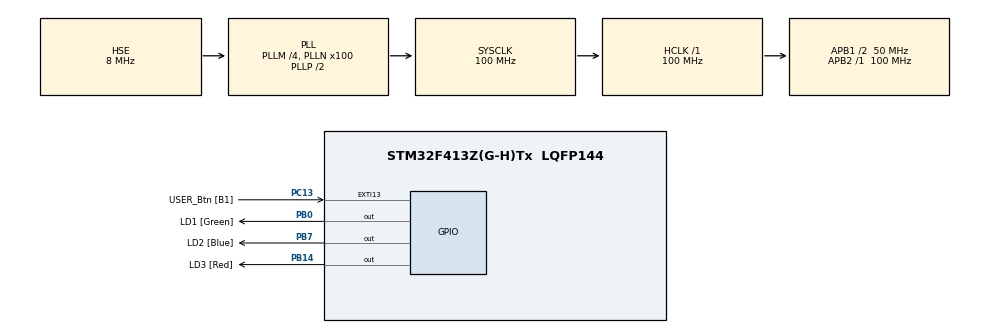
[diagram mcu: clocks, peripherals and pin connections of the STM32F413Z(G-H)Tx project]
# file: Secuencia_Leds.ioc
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Mcu.Family=STM32F4
Mcu.Name=STM32F413Z(G-H)Tx
Mcu.Package=LQFP144
NVIC.PriorityGroup=NVIC_PRIORITYGROUP_4
PA13.GPIO_Label=TMS
PA13.Mode=Serial_Wire
PA13.Signal=SYS_JTMS-SWDIO
PA14.GPIO_Label=TCK
PA14.Mode=Serial_Wire
PA14.Signal=SYS_JTCK-SWCLK
PB0.GPIO_Label=LD1 [Green]
PB0.Signal=GPIO_Output
PB14.GPIO_Label=LD3 [Red]
PB14.Signal=GPIO_Output
PB7.GPIO_Label=LD2 [Blue]
PB7.Signal=GPIO_Output
PC13.GPIO_Label=USER_Btn [B1]
PC13.Signal=GPXTI13
PH0\ -\ OSC_IN.GPIO_Label=MCO
PH0\ -\ OSC_IN.Mode=HSE-External-Clock-Source
PH0\ -\ OSC_IN.Signal=RCC_OSC_IN
PH1\ -\ OSC_OUT.Mode=HSE-External-Clock-Source
PH1\ -\ OSC_OUT.Signal=RCC_OSC_OUT
ProjectManager.HeapSize=0x200
ProjectManager.StackSize=0x400
ProjectManager.TargetToolchain=STM32CubeIDE
RCC.48MHZClocksFreq_Value=24000000
RCC.AHBFreq_Value=100000000
RCC.APB1CLKDivider=RCC_HCLK_DIV2
RCC.APB1Freq_Value=50000000
RCC.APB1TimFreq_Value=100000000
RCC.APB2Freq_Value=100000000
RCC.APB2TimFreq_Value=100000000
RCC.CortexFreq_Value=100000000
RCC.HCLKFreq_Value=100000000
RCC.HSE_VALUE=8000000
RCC.HSI_VALUE=16000000
RCC.PLLM=4
RCC.PLLMUL=RCC_PLL_MUL9
RCC.PLLN=100
RCC.PLLQ=8
RCC.PLLSourceVirtual=RCC_PLLSOURCE_HSE
RCC.PRESCALERUSB=RCC_USBCLKSOURCE_PLL_DIV1_5
RCC.SYSCLKFreq_VALUE=100000000
RCC.SYSCLKSource=RCC_SYSCLKSOURCE_PLLCLK
RCC.SYSCLKSourceVirtual=RCC_SYSCLKSOURCE_PLLCLK
RCC.USBFreq_Value=25000000
RCC.VCOOutputFreq_Value=200000000
board=NUCLEO-F413ZH

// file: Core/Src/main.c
/* USER CODE BEGIN Header */
/**
  ******************************************************************************
  * @file           : main.c
  * @brief          : Main program body - App 1.4 con MEF Debounce
  ******************************************************************************
  */
/* USER CODE END Header */

#include "main.h"
#include "API_GPIO.h"
#include "API_delay.h"
#include "API_debounce.h"

/* USER CODE BEGIN PD */
#define LED1 LD1_Pin  // LED Verde
#define LED2 LD2_Pin  // LED Azul
#define LED3 LD3_Pin  // LED Rojo

// Tiempos de alternancia predefinidos (ms)
#define TIEMPO_1   100
#define TIEMPO_2   250
#define TIEMPO_3   500
#define TIEMPO_4  1000
/* USER CODE END PD */

void SystemClock_Config(void);

int main(void)
{
  HAL_Init();

  SystemClock_Config();

  MX_GPIO_Init();

  /* USER CODE BEGIN 2 */
  uint16_t leds[3] = {LED1, LED2, LED3};
  uint8_t secuencia = 1;

  // 1. Sincronización: asegurar que los tres LEDs comiencen apagados
  for (uint8_t i = 0; i < 3; i++)
  {
      writeLedOff_GPIO(leds[i]);
  }

  // 2. Inicializar retardo no bloqueante con Tiempo 1 (100 ms)
  delay_t delay_leds;
  delayInit(&delay_leds, TIEMPO_1);

  // 3. Inicializar la MEF de antirrebote
  debounceFSM_init();
  /* USER CODE END 2 */

  /* Infinite loop */
  /* USER CODE BEGIN WHILE */
  while (1)
  {
      /* 1. Actualización continua de la MEF de antirrebote */
      debounceFSM_update(readButton_GPIO());

      /* 2. Detección de nueva pulsación (evento consumido) */
      if (readKey())
      {
          secuencia++;
          if (secuencia > 4)
          {
              secuencia = 1;
          }

          switch (secuencia)
          {
              case 1:
                  delayWrite(&delay_leds, TIEMPO_1);
                  break;
              case 2:
                  delayWrite(&delay_leds, TIEMPO_2);
                  break;
              case 3:
                  delayWrite(&delay_leds, TIEMPO_3);
                  break;
              case 4:
                  delayWrite(&delay_leds, TIEMPO_4);
                  break;
          }
      }

      /* 3. Conmutación 100% simultánea de los 3 LEDs */
      if (delayRead(&delay_leds))
      {
          for (uint8_t i = 0; i < 3; i++)
          {
              toggleLed_GPIO(leds[i]);
          }
      }
    /* USER CODE END WHILE */

  }
}

void SystemClock_Config(void)
{
  RCC_OscInitTypeDef RCC_OscInitStruct = {0};
  RCC_ClkInitTypeDef RCC_ClkInitStruct = {0};

  __HAL_RCC_PWR_CLK_ENABLE();
  __HAL_PWR_VOLTAGESCALING_CONFIG(PWR_REGULATOR_VOLTAGE_SCALE1);

  RCC_OscInitStruct.OscillatorType = RCC_OSCILLATORTYPE_HSE;
  RCC_OscInitStruct.HSEState = RCC_HSE_BYPASS;
  RCC_OscInitStruct.PLL.PLLState = RCC_PLL_ON;
  RCC_OscInitStruct.PLL.PLLSource = RCC_PLLSOURCE_HSE;
  RCC_OscInitStruct.PLL.PLLM = 4;
  RCC_OscInitStruct.PLL.PLLN = 100;
  RCC_OscInitStruct.PLL.PLLP = RCC_PLLP_DIV2;
  RCC_OscInitStruct.PLL.PLLQ = 8;
  RCC_OscInitStruct.PLL.PLLR = 2;
  if (HAL_RCC_OscConfig(&RCC_OscInitStruct) != HAL_OK)
  {
    Error_Handler();
  }

  RCC_ClkInitStruct.ClockType = RCC_CLOCKTYPE_HCLK|RCC_CLOCKTYPE_SYSCLK
                              |RCC_CLOCKTYPE_PCLK1|RCC_CLOCKTYPE_PCLK2;
  RCC_ClkInitStruct.SYSCLKSource = RCC_SYSCLKSOURCE_PLLCLK;
  RCC_ClkInitStruct.AHBCLKDivider = RCC_SYSCLK_DIV1;
  RCC_ClkInitStruct.APB1CLKDivider = RCC_HCLK_DIV2;
  RCC_ClkInitStruct.APB2CLKDivider = RCC_HCLK_DIV1;

  if (HAL_RCC_ClockConfig(&RCC_ClkInitStruct, FLASH_LATENCY_3) != HAL_OK)
  {
    Error_Handler();
  }
}

void Error_Handler(void)
{
  __disable_irq();
  while (1)
  {
  }
}
